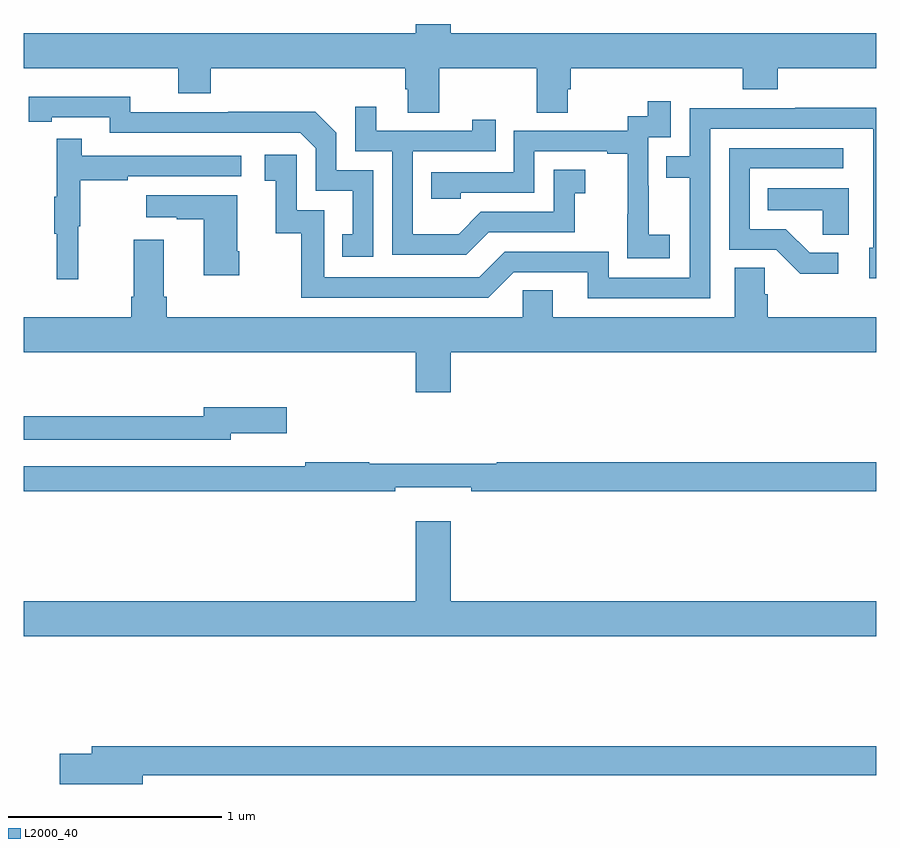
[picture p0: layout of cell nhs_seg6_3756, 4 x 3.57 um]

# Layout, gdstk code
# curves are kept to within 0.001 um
import gdstk
lib = gdstk.Library(unit=1e-6, precision=1e-09)
def P(c, l, *ps):  # polygons
    for p in ps: c.add(gdstk.Polygon(p, *l))
L2000_40 = (2000, 40)

nhs_seg6_3756 = lib.new_cell('nhs_seg6_3756')
P(nhs_seg6_3756, L2000_40, [(332.949,991.292),(333.406,991.292),(333.406,991.084),(333.553,991.084),(333.553,991.194),(333.566,991.194),(333.566,991.292),(334.373,991.292),(334.373,991.193),(334.538,991.193),(334.538,991.292),(335,991.292),(335,991.456),(333.004,991.456),(333.004,991.5),(332.84,991.5),(332.84,991.456),(331,991.456),(331,991.292),(331.724,991.292),(331.724,991.175),(331.877,991.175),(331.877,991.292),(332.789,991.292),(332.789,991.194),(332.801,991.194),(332.801,991.084),(332.949,991.084)],
  [(332.64,990.813),(332.466,990.813),(332.466,990.99),(332.368,991.088),(331.96,991.088),(331.96,991.086),(331.5,991.086),(331.5,991.159),(331.024,991.158),(331.024,991.042),(331.132,991.042),(331.132,991.062),(331.404,991.062),(331.404,990.99),(332.298,990.99),(332.37,990.918),(332.37,990.717),(332.543,990.717),(332.543,990.513),(332.494,990.513),(332.494,990.408),(332.64,990.408)],
  [(334.03,990.511),(333.932,990.511),(333.932,990.74),(333.93,990.74),(333.93,990.969),(334.035,990.969),(334.035,991.138),(333.927,991.138),(333.927,991.068),(333.834,991.068),(333.834,990.999),(333.3,990.999),(333.3,990.804),(332.911,990.804),(332.911,990.681),(333.051,990.681),(333.051,990.708),(333.396,990.708),(333.396,990.903),(333.737,990.903),(333.737,990.891),(333.833,990.891),(333.833,990.607),(333.832,990.607),(333.832,990.401),(334.03,990.401)],
  [(333.181,990.522),(333.585,990.522),(333.585,990.707),(333.634,990.707),(333.634,990.817),(333.486,990.817),(333.486,990.618),(333.144,990.618),(333.04,990.514),(332.826,990.514),(332.826,990.903),(333.215,990.903),(333.215,991.051),(333.104,991.051),(333.104,990.999),(332.653,990.999),(332.653,991.111),(332.556,991.111),(332.556,990.903),(332.73,990.903),(332.73,990.417),(333.076,990.417)],
  [(334.221,991.008),(334.986,991.008),(334.986,990.45),(334.967,990.45),(334.967,990.306),(335,990.306),(335,991.106),(334.621,991.106),(334.621,991.104),(334.125,991.104),(334.125,990.879),(334.015,990.879),(334.015,990.778),(334.125,990.778),(334.125,990.309),(333.744,990.309),(333.744,990.432),(333.258,990.432),(333.138,990.312),(332.409,990.312),(332.409,990.627),(332.28,990.627),(332.28,990.886),(332.13,990.886),(332.13,990.765),(332.183,990.765),(332.183,990.519),(332.301,990.519),(332.301,990.216),(333.18,990.216),(333.3,990.336),(333.647,990.336),(333.647,990.213),(334.221,990.213)],
  [(331.256,990.552),(331.264,990.552),(331.264,990.766),(331.487,990.766),(331.487,990.786),(332.02,990.786),(332.02,990.882),(331.271,990.882),(331.271,990.961),(331.154,990.961),(331.154,990.689),(331.143,990.689),(331.143,990.515),(331.154,990.515),(331.154,990.303),(331.256,990.303)],
  [(334.822,990.426),(334.687,990.426),(334.576,990.537),(334.407,990.537),(334.407,990.822),(334.846,990.822),(334.846,990.918),(334.311,990.918),(334.311,990.441),(334.53,990.441),(334.643,990.329),(334.822,990.329)],
  [(334.87,990.73),(334.492,990.73),(334.492,990.626),(334.749,990.626),(334.749,990.511),(334.87,990.511)],
  [(332.01,990.433),(332.002,990.433),(332.002,990.697),(331.575,990.697),(331.575,990.593),(331.718,990.593),(331.718,990.583),(331.844,990.583),(331.844,990.321),(332.01,990.321)],
  [(333.004,989.96),(335,989.96),(335,990.124),(334.49,990.124),(334.49,990.233),(334.476,990.233),(334.476,990.356),(334.337,990.356),(334.337,990.124),(333.481,990.124),(333.481,990.251),(333.342,990.251),(333.342,990.124),(331.67,990.124),(331.67,990.22),(331.657,990.22),(331.657,990.487),(331.517,990.487),(331.517,990.22),(331.505,990.22),(331.505,990.124),(331,990.124),(331,989.96),(332.84,989.96),(332.84,989.772),(333.004,989.772)],
  [(331.972,989.579),(332.233,989.579),(332.233,989.701),(331.844,989.701),(331.844,989.659),(331,989.659),(331,989.55),(331.972,989.55)],
  [(332.744,989.327),(333.1,989.327),(333.1,989.308),(335,989.308),(335,989.444),(333.22,989.444),(333.22,989.437),(332.62,989.437),(332.62,989.444),(332.32,989.444),(332.32,989.425),(332.068,989.425),(332.068,989.424),(331,989.424),(331,989.308),(332.744,989.308)],
  [(335,988.792),(333.004,988.792),(333.004,989.167),(332.84,989.167),(332.84,988.792),(331,988.792),(331,988.628),(335,988.628)],
  [(331.558,987.976),(335,987.976),(335,988.112),(331.319,988.112),(331.319,988.076),(331.17,988.076),(331.17,987.934),(331.558,987.934)])

lib.write_gds('nhs_seg6_3756.gds')
